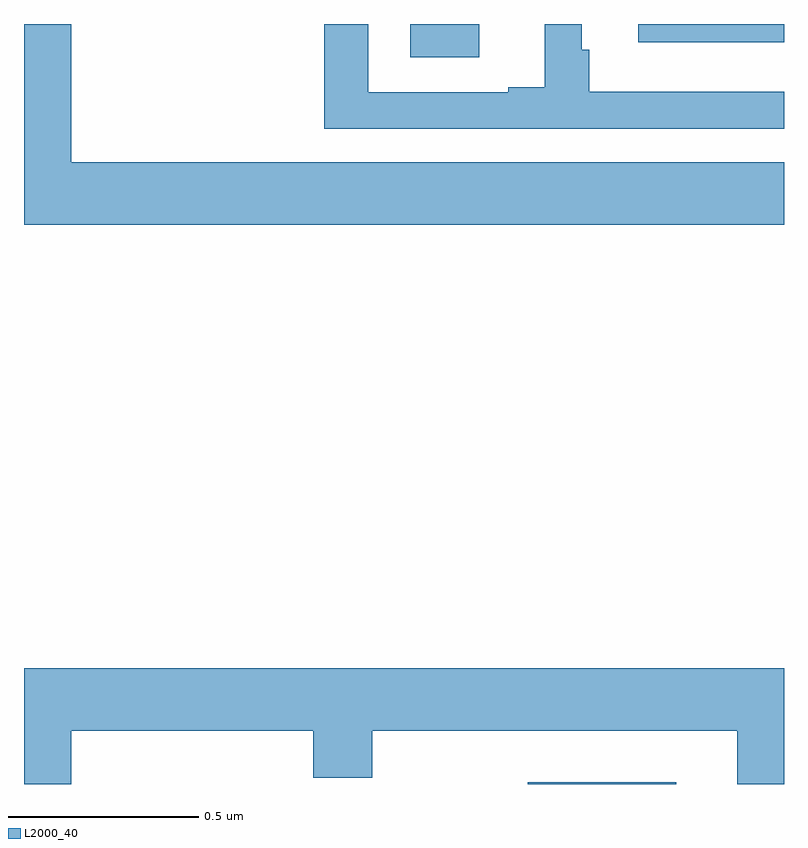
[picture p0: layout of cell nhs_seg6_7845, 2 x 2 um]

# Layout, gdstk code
import gdstk
lib = gdstk.Library(unit=1e-6, precision=1e-09)
def R(c, l, rs):  # rectangles x0, y0, x1, y1
    for r in rs: c.add(gdstk.rectangle(r[:2], r[2:], *l))
def P(c, l, *ps):  # polygons
    for p in ps: c.add(gdstk.Polygon(p, *l))
L2000_40 = (2000, 40)

nhs_seg6_7845 = lib.new_cell('nhs_seg6_7845')
R(nhs_seg6_7845, L2000_40, [(214.325,976.5,214.717,976.504), (214.017,978.413,214.198,978.5), (214.617,978.452,215,978.5)])
P(nhs_seg6_7845, L2000_40, [(215,978.136),(213.124,978.136),(213.124,978.5),(213,978.5),(213,977.972),(215,977.972)],
  [(215,978.322),(214.487,978.322),(214.487,978.432),(214.468,978.432),(214.468,978.5),(214.37,978.5),(214.37,978.334),(214.274,978.334),(214.274,978.321),(213.906,978.321),(213.906,978.5),(213.79,978.5),(213.79,978.225),(215,978.225)],
  [(213.124,976.64),(213.761,976.64),(213.761,976.516),(213.917,976.516),(213.917,976.64),(214.877,976.64),(214.877,976.5),(215,976.5),(215,976.804),(213,976.804),(213,976.5),(213.124,976.5)])

lib.write_gds('nhs_seg6_7845.gds')
